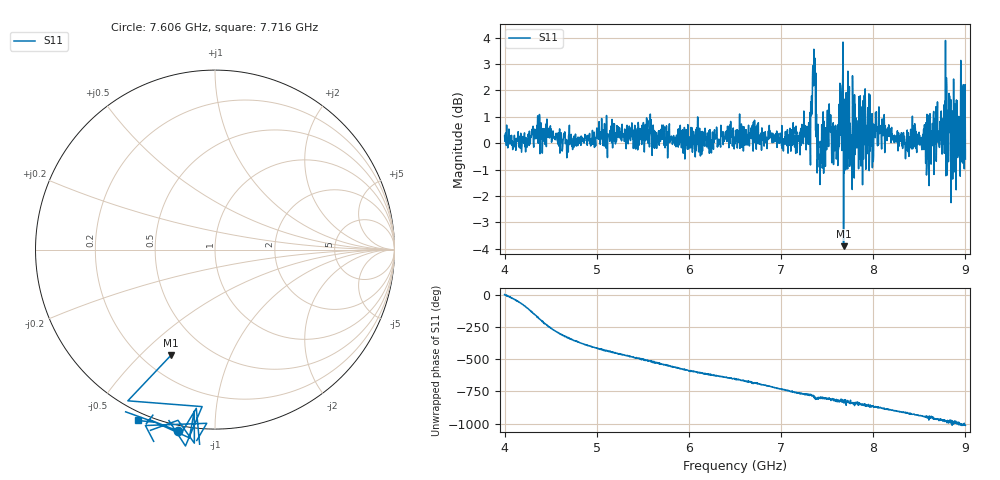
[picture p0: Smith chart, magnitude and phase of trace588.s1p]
! Created with skrf 1.8.0 (http://scikit-rf.org).
# Hz S RI R 50.0
!freq ReS11 ImS11
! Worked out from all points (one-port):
!   1601 points, 4 GHz to 9 GHz, reference 50 ohm
!   lowest |S11| = -3.9 dB at 7.678 GHz (marker M1), VSWR 4.52, Z = 15.6 - j31 ohm
!   |S11| at or under -10 dB: nowhere
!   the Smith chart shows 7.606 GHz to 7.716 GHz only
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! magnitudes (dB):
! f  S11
! 4 GHz  0.3
! 4.625 GHz  -0.3
! 5.25 GHz  0.4
! 5.875 GHz  -0.1
! 6.5 GHz  0.2
! 7.125 GHz  0.5
! 7.294 GHz  0.0
! 7.353 GHz  2.2
! 7.366 GHz  2.3
! 7.397 GHz  -0.9
! 7.412 GHz  -0.6
! 7.522 GHz  1.5
! 7.609 GHz  0.1
! 7.65 GHz  1.7
! 7.678 GHz  -3.9
! 7.75 GHz  0.8
! 7.769 GHz  -0.8
! 7.8 GHz  -0.4
! 7.928 GHz  0.5
! 7.981 GHz  -0.1
! 8.088 GHz  0.2
! 8.375 GHz  -0.3
! 8.431 GHz  0.4
! 8.603 GHz  -1.3
! 8.809 GHz  1.0
! 8.869 GHz  -0.6
! 8.972 GHz  0.9
! 9 GHz  -0.6
